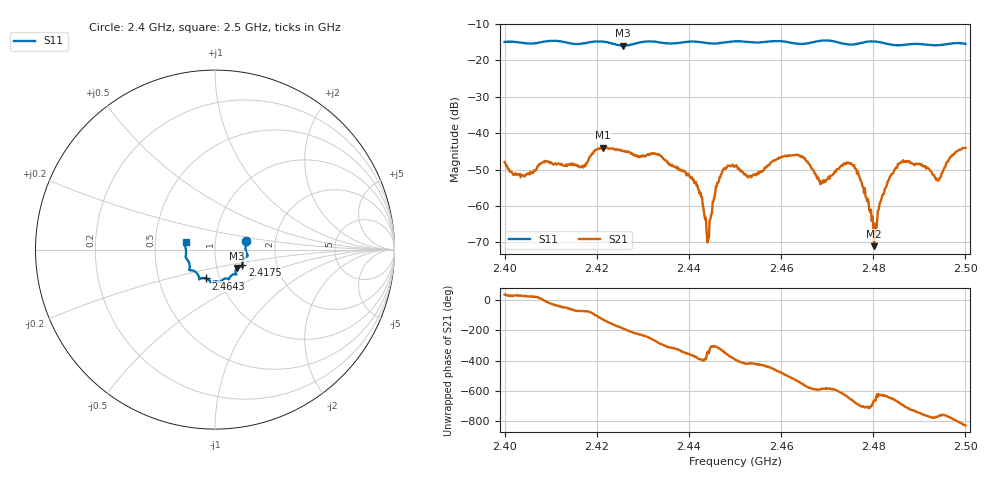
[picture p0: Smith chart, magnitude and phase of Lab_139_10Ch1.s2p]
# Hz S RI R 50
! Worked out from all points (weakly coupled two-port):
!   601 points, 2.4 GHz to 2.5 GHz, reference 50 ohm
!   highest |S21| = -43.94 dB at 2.4213 GHz (marker M1); lowest = -71.0 dB at 2.4802 GHz (marker M2)
!   lowest |S11| = -15.9 dB at 2.4257 GHz (marker M3), VSWR 1.38, Z = 62.5 - j13.1 ohm
!   |S11| at or under -10 dB: start of sweep to end of sweep
!   S12 and S22 are empty: the file has one direction only
!   S11 on the Smith chart (normalised r, x): 2.4 GHz: 1.41, +0.14; 2.4175 GHz: 1.34, -0.23; 2.4643 GHz: 0.86, -0.29; 2.5 GHz: 0.72, +0.06
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2.4e9  0.1728 0.0489  0.00335 0.00223  0 0  0 0
2.404e9  0.1724 0.0251  0.00242 0.00107  0 0  0 0
2.408833e9  0.1801 -0.0275  0.00413 -0.000591  0 0  0 0
2.416667e9  0.1528 -0.0738  0.000853 -0.00334  0 0  0 0
2.4175e9  0.1519 -0.0832  0.000823 -0.00339  0 0  0 0
2.421333e9  0.1536 -0.0966  -0.00402 -0.00492  0 0  0 0
2.425667e9  0.1226 -0.1021  -0.00563 0.000965  0 0  0 0
2.433333e9  0.1132 -0.1374  0.00111 0.00496  0 0  0 0
2.441333e9  0.0766 -0.1648  0.00203 -0.000618  0 0  0 0
2.444e9  0.0635 -0.1608  0.000306 7.53e-05  0 0  0 0
2.447167e9  0.0395 -0.1697  0.00251 0.00133  0 0  0 0
2.45e9  0.0286 -0.181  0.00293 -0.00192  0 0  0 0
2.453167e9  0.0164 -0.1778  0.00133 -0.00224  0 0  0 0
2.464333e9  -0.05 -0.161  -0.0048 0.000692  0 0  0 0
2.466667e9  -0.0757 -0.1593  -0.00234 0.0023  0 0  0 0
2.468833e9  -0.0878 -0.1655  -0.00145 0.00146  0 0  0 0
2.475667e9  -0.1125 -0.1216  0.00203 0.00293  0 0  0 0
2.480167e9  -0.1436 -0.1126  0.000153 0.000235  0 0  0 0
2.483333e9  -0.1408 -0.0902  0.000422 0.00218  0 0  0 0
2.486667e9  -0.1529 -0.0578  0.0037 0.00155  0 0  0 0
2.494167e9  -0.162 0.000168  0.00157 -0.00163  0 0  0 0
2.5e9  -0.1638 0.043  -0.00178 -0.00602  0 0  0 0
